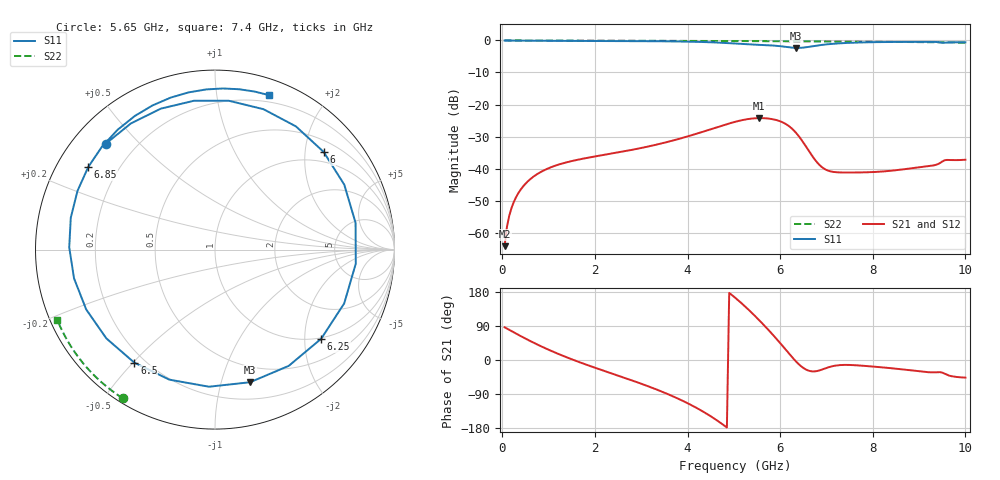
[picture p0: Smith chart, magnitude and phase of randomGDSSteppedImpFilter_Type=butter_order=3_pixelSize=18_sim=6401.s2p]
! freq	dB(S11)	phase(S11)	dB(S12)	phase(S12)
!  dB(S21)	phase(S21)	dB(S22)	phase(S22)
!S-par simulation data
#  GHz  S  DB  R 50
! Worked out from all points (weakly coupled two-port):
!   200 points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, 50 MHz to 10 GHz, reference 50 ohm
!   highest |S21| = -24.23 dB at 5.55 GHz (marker M1); lowest = -64.2 dB at 50 MHz (marker M2)
!   lowest |S11| = -2.3 dB at 6.35 GHz (marker M3), VSWR 7.49, Z = 17.4 - j61.9 ohm
!   |S11| at or under -10 dB: nowhere
!   |S22| runs from -0.7 to 0.0 dB; largest |S21 - S12| = 0
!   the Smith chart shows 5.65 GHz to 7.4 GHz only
!   S11 on the Smith chart (normalised r, x): 5.65 GHz: 0.10, +0.40; 6 GHz: 0.75, +2.41; 6.25 GHz: 0.98, -2.40; 6.5 GHz: 0.16, -0.50; 6.85 GHz: 0.09, +0.29; 7.4 GHz: 0.14, +1.40
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0.05  -0.01 -5.7  -64.20 86.3  -64.20 86.3  -0.00 -1.2
0.25  -0.04 -28.1  -50.36 72.8  -50.36 72.8  -0.01 -5.9
0.8  -0.10 -84.7  -41.30 38.3  -41.30 38.3  -0.02 -18.8
1.75  -0.15 -161.5  -36.87 -9.5  -36.87 -9.5  -0.05 -40.7
2.5  -0.18 148.2  -34.94 -41.2  -34.94 -41.2  -0.07 -57.4
3.4  -0.25 86.4  -32.27 -81.2  -32.27 -81.2  -0.10 -76.7
3.9  -0.34 46.0  -30.37 -108.0  -30.37 -108.0  -0.12 -87.1
4.4  -0.52 -4.2  -28.18 -140.8  -28.18 -140.8  -0.15 -97.3
5.05  -0.98 -97.0  -25.31 162.1  -25.31 162.1  -0.19 -110.2
5.35  -1.24 -155.5  -24.44 128.9  -24.44 128.9  -0.20 -116.0
5.55  -1.37 159.9  -24.23 104.7  -24.23 104.7  -0.22 -119.9
5.65  -1.43 136.0  -24.25 92.0  -24.25 92.0  -0.22 -121.8
5.85  -1.59 84.7  -24.61 65.6  -24.61 65.6  -0.23 -125.7
6  -1.79 42.0  -25.23 44.7  -25.23 44.7  -0.24 -128.6
6.25  -2.24 -40.0  -27.46 8.6  -27.46 8.6  -0.25 -133.4
6.35  -2.33 -75.2  -28.95 -4.9  -28.95 -4.9  -0.25 -135.3
6.5  -2.23 -125.5  -31.84 -20.9  -31.84 -20.9  -0.26 -138.3
6.7  -1.81 179.1  -36.19 -30.1  -36.19 -30.1  -0.28 -142.2
6.85  -1.49 146.9  -38.87 -27.5  -38.87 -27.5  -0.29 -145.1
7.4  -0.80 70.7  -41.22 -12.9  -41.22 -12.9  -0.34 -155.9
8.35  -0.48 -0.0  -40.72 -21.1  -40.72 -21.1  -0.44 -175.1
10  -0.58 -70.3  -37.23 -46.5  -37.23 -46.5  -0.70 147.0
